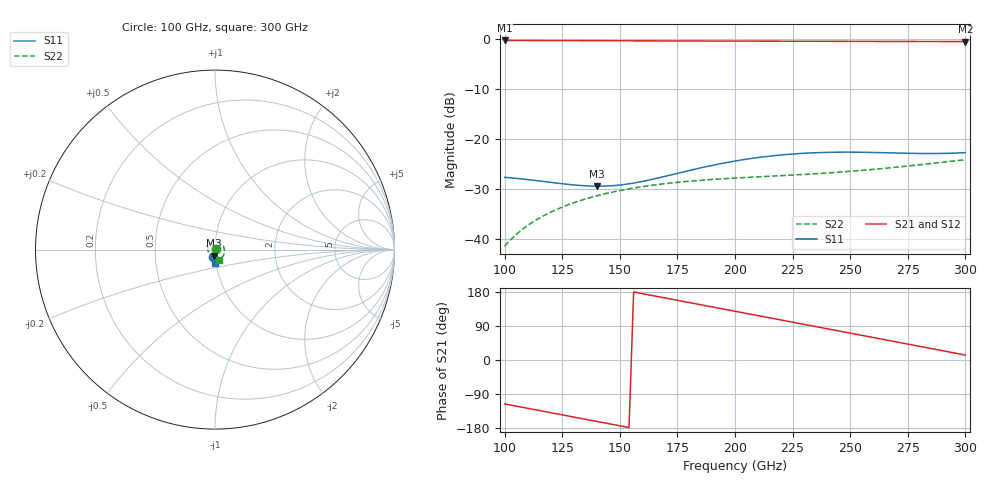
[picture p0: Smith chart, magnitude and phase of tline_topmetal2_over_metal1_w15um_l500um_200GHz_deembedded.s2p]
! Created with skrf 2.0.1 (http://scikit-rf.org).
# GHz S DB R 50.0
!freq dBS11 angS11 dBS21 angS21 dBS12 angS12 dBS22 angS22
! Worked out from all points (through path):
!   101 points, 100 GHz to 300 GHz, reference 50 ohm
!   highest |S21| = -0.36 dB at 100 GHz (marker M1); lowest = -0.6 dB at 300 GHz (marker M2)
!   group delay of S21, straight-line fit = 3.21 ps
!   lowest |S11| = -29.4 dB at 140 GHz (marker M3), VSWR 1.07, Z = 49.4 - j3.3 ohm
!   |S11| at or under -10 dB: start of sweep to end of sweep
!   |S22| runs from -41.4 to -24.1 dB; largest |S21 - S12| = 1.1e-14
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100  -27.66 -104.4  -0.36 -115.9  -0.36 -115.9  -41.39 16.0
106  -27.91 -106.3  -0.37 -122.9  -0.37 -122.9  -38.68 4.3
114  -28.32 -107.5  -0.38 -132.1  -0.38 -132.1  -36.09 -10.9
124  -28.89 -106.4  -0.39 -143.6  -0.39 -143.6  -33.79 -29.9
134  -29.32 -102.4  -0.41 -155.2  -0.41 -155.2  -32.13 -49.2
140  -29.42 -98.8  -0.41 -162.1  -0.41 -162.1  -31.35 -60.9
154  -28.95 -89.1  -0.43 -178.2  -0.43 -178.2  -29.96 -88.9
168  -27.65 -82.0  -0.45 165.6  -0.45 165.6  -29.02 -117.8
176  -26.76 -80.1  -0.46 156.4  -0.46 156.4  -28.62 -134.8
184  -25.90 -79.6  -0.47 147.1  -0.47 147.1  -28.30 -152.2
200  -24.42 -81.4  -0.49 128.7  -0.49 128.7  -27.81 171.9
210  -23.72 -83.7  -0.50 117.1  -0.50 117.1  -27.56 148.7
218  -23.29 -85.9  -0.51 107.9  -0.51 107.9  -27.38 129.7
226  -22.98 -88.0  -0.52 98.6  -0.52 98.6  -27.18 110.5
234  -22.77 -90.1  -0.52 89.4  -0.52 89.4  -26.97 91.0
242  -22.67 -91.9  -0.53 80.2  -0.53 80.2  -26.73 71.3
250  -22.64 -93.3  -0.54 70.9  -0.54 70.9  -26.46 51.5
258  -22.69 -94.2  -0.55 61.7  -0.55 61.7  -26.16 31.7
268  -22.79 -94.3  -0.56 50.1  -0.56 50.1  -25.73 6.9
284  -22.91 -92.3  -0.57 31.6  -0.57 31.6  -24.96 -32.1
292  -22.88 -90.3  -0.58 22.3  -0.58 22.3  -24.56 -51.3
300  -22.73 -88.1  -0.58 13.0  -0.58 13.0  -24.15 -70.2
